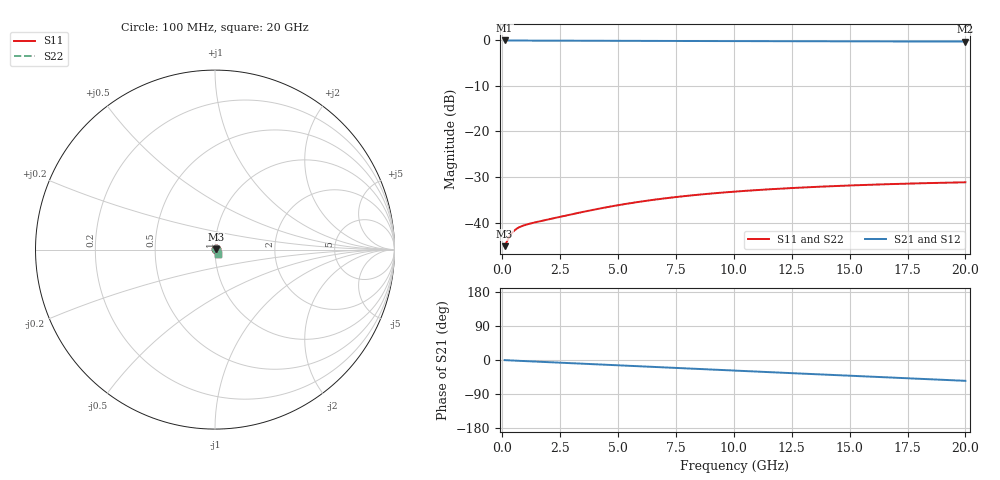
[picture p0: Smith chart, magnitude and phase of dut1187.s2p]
! Touchstone file exported from HFSS 2026.1.0
!  File:  C:/ffzhzh/LocalFiles/Ansys_Project_Files/temp_train_TMRDL_1187_1783162747_51560.aedt
!  Generated:  07:00:25 PM Jul  4, 2026
!  Design:  TMRDL
!  Project:  temp_train_TMRDL_1187_1783162747_51560
! Variables:
!  h_bsmrdl = 2um
!  h_ox = 20um
!  h_rdl = 5um
!  h_sub = 80um
!  h_tmrdl = 3.58um
!  h_tsv = 80um
!  h_via = 3um
!  l_bsmrdl = 300um
!  l_sub = 1393.53um
!  l_tmrdl = 993.53um
!  m_sub = 200um
!  pitch = 22.74um
!  r_tsv = 6um
!  s_tmrdl = 10um
!  w_bsmrdl = 18um
!  w_sub = 500um
!  w_tmrdl = 18.97um
!  x_tsv_center1 = 1003.015um
!  x_tsv_center2 = 1321.015um
!  x_tsv_center3 = 2333.515um
!  x_tsv_center4 = 2651.515um
!  x_tsv_center5 = 3664.015um
!  x_tsv_center6 = 3982.015um
# GHz S MA R 50.000000
! Terminal data exported
! Port[1] = TM_RDL1_1_T1
! Port[2] = TM_RDL1_1_T2
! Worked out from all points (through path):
!   200 points, 100 MHz to 20 GHz, reference 50 ohm
!   highest |S21| = -0.05 dB at 100 MHz (marker M1); lowest = -0.3 dB at 20 GHz (marker M2)
!   group delay of S21, straight-line fit = 7.6 ps
!   lowest |S11| = -45.1 dB at 100 MHz (marker M3), VSWR 1.01, Z = 50.5 + j0.105 ohm
!   |S11| at or under -10 dB: start of sweep to end of sweep
!   |S22| runs from -45.1 to -31.0 dB; largest |S21 - S12| = 2.6e-15
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0.1  0.005538 10.8  0.9946 -0.3  0.9946 -0.3  0.005538 10.8
! Gamma 0 0 0 0
! Port Impedance 50 0 50 0
0.3  0.006991 19.6  0.9935 -1.0  0.9935 -1.0  0.00699 19.6
0.4  0.007633 20.0  0.9929 -1.3  0.9929 -1.3  0.007633 20.0
0.5  0.008139 19.7  0.9924 -1.5  0.9924 -1.5  0.008137 19.6
0.6  0.00853 19.1  0.992 -1.8  0.992 -1.8  0.008528 19.1
0.7  0.008837 18.5  0.9917 -2.1  0.9917 -2.1  0.008835 18.5
0.8  0.009086 18.0  0.9915 -2.4  0.9915 -2.4  0.009083 18.0
1  0.009477 17.4  0.9911 -2.9  0.9911 -2.9  0.009474 17.4
1.4  0.01008 17.1  0.9906 -4.1  0.9906 -4.1  0.01007 17.1
3.5  0.01317 16.7  0.9881 -10.0  0.9881 -10.0  0.01318 16.7
4.3  0.01446 14.9  0.987 -12.2  0.987 -12.2  0.01447 14.9
5.1  0.01573 12.3  0.9858 -14.4  0.9858 -14.4  0.01574 12.3
5.9  0.01694 9.2  0.9845 -16.7  0.9845 -16.7  0.01696 9.2
6.8  0.01821 5.2  0.9831 -19.1  0.9831 -19.1  0.01824 5.2
8.4  0.02021 -2.4  0.9806 -23.5  0.9806 -23.5  0.02026 -2.4
10.1  0.022 -10.8  0.9781 -28.2  0.9781 -28.2  0.02206 -10.8
11.7  0.02339 -18.7  0.9759 -32.5  0.9759 -32.5  0.02349 -18.7
13.4  0.02463 -27.0  0.9738 -37.1  0.9738 -37.1  0.02476 -27.0
15.1  0.02567 -35.0  0.9719 -41.7  0.9719 -41.7  0.02583 -35.0
16.7  0.02649 -42.4  0.9702 -46.1  0.9702 -46.1  0.02669 -42.4
18.4  0.02721 -50.1  0.9685 -50.6  0.9685 -50.6  0.02746 -50.0
20  0.02776 -57.1  0.967 -55.0  0.967 -55.0  0.02806 -57.0
